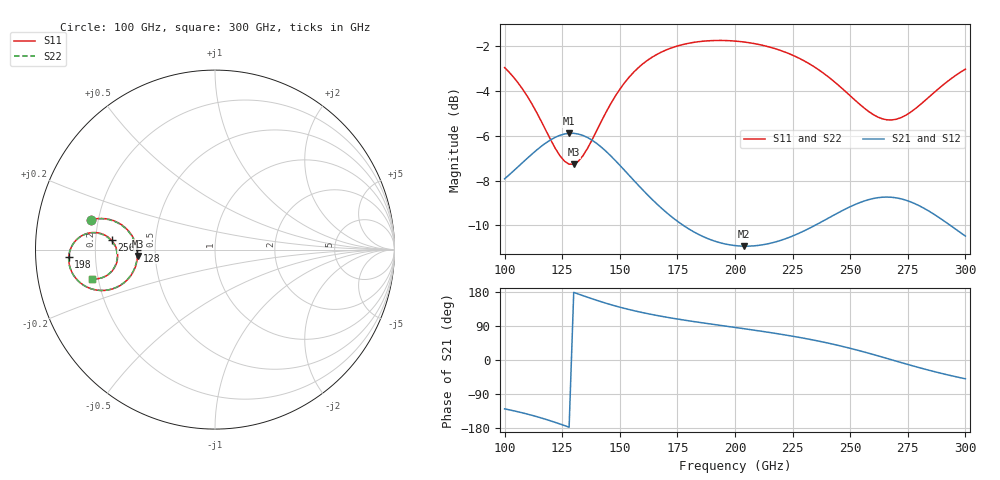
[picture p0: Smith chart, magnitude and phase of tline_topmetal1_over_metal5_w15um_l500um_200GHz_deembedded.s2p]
! Created with skrf 2.2.0 (http://scikit-rf.org).
# GHz S DB R 50.0
! Port[1] = P1
! Port[2] = P2
!freq dBS11 angS11 dBS21 angS21 dBS12 angS12 dBS22 angS22
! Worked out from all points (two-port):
!   101 points, 100 GHz to 300 GHz, reference 50 ohm
!   highest |S21| = -5.89 dB at 128 GHz (marker M1); lowest = -10.9 dB at 204 GHz (marker M2)
!   |S21| within 3 dB of the highest: start of sweep to 164.6 GHz; 256.6 GHz to 274.7 GHz (18.11 GHz wide, 6.82 % of centre)
!   lowest |S11| = -7.3 dB at 130 GHz (marker M3), VSWR 2.53, Z = 19.8 - j1.69 ohm
!   |S11| at or under -10 dB: nowhere
!   |S22| runs from -7.2 to -1.8 dB; largest |S21 - S12| = 5.7e-14
!   S11 on the Smith chart (normalised r, x): 100 GHz: 0.17, +0.11; 128 GHz: 0.40, -0.00; 198 GHz: 0.10, -0.03; 256 GHz: 0.27, +0.04; 300 GHz: 0.18, -0.11
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100  -2.96 166.5  -7.92 -129.0  -7.92 -129.0  -2.95 166.6
108  -3.95 164.3  -7.18 -139.9  -7.18 -139.9  -3.94 164.4
114  -4.98 164.4  -6.63 -149.6  -6.63 -149.6  -4.96 164.6
122  -6.56 170.3  -6.07 -164.7  -6.07 -164.7  -6.53 170.4
128  -7.27 -179.4  -5.89 -177.3  -5.89 -177.3  -7.23 -179.4
130  -7.27 -175.4  -5.89 178.4  -5.89 178.4  -7.23 -175.4
134  -6.89 -168.0  -5.99 169.8  -5.99 169.8  -6.85 -168.1
142  -5.36 -159.9  -6.51 153.6  -6.51 153.6  -5.33 -160.0
148  -4.24 -159.0  -7.10 142.7  -7.10 142.7  -4.23 -159.1
156  -3.17 -161.0  -7.98 130.3  -7.98 130.3  -3.16 -161.0
168  -2.28 -165.8  -9.22 115.4  -9.22 115.4  -2.27 -165.8
182  -1.84 -171.4  -10.28 101.6  -10.28 101.6  -1.84 -171.4
198  -1.77 -177.1  -10.87 87.6  -10.87 87.6  -1.77 -177.0
200  -1.78 -177.7  -10.90 85.9  -10.90 85.9  -1.78 -177.7
204  -1.83 -179.0  -10.92 82.5  -10.92 82.5  -1.82 -179.0
220  -2.21 176.1  -10.66 67.8  -10.66 67.8  -2.20 176.2
234  -2.91 172.7  -10.03 52.7  -10.03 52.7  -2.89 172.9
246  -3.85 172.0  -9.37 36.8  -9.37 36.8  -3.83 172.1
256  -4.76 174.9  -8.91 21.2  -8.91 21.2  -4.73 175.1
268  -5.30 -176.4  -8.74 0.5  -8.74 0.5  -5.26 -176.3
284  -4.30 -166.9  -9.35 -26.7  -9.35 -26.7  -4.27 -166.9
300  -3.04 -166.8  -10.47 -49.6  -10.47 -49.6  -3.02 -166.8
